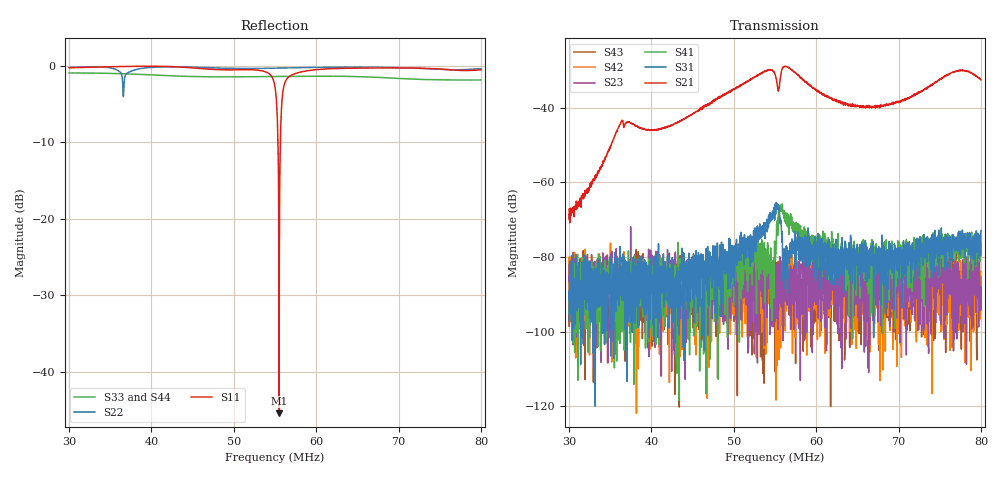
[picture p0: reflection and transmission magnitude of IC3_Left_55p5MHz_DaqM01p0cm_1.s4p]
#  HZ  S  DB  R  50.00
! Rohde & Schwarz Vector Network Analyzer
! Rohde-Schwarz,ZNB8-4Port,1311601044102961,2.82
! Created: UTC 2/13/2019, 8:48:47 AM
! freq[Hz]  db:S11  ang:S11  db:S12  ang:S12  db:S13  ang:S13  db:S14  ang:S14
!  db:S21  ang:S21  db:S22  ang:S22  db:S23  ang:S23  db:S24  ang:S24
!  db:S31  ang:S31  db:S32  ang:S32  db:S33  ang:S33  db:S34  ang:S34
!  db:S41  ang:S41  db:S42  ang:S42  db:S43  ang:S43  db:S44  ang:S44
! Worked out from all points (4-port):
!   2001 points, 30 MHz to 80 MHz, reference 50 ohm
!   strongest paths, dB at 30 MHz, 42.5 MHz, 55 MHz, 67.5 MHz, 80 MHz:
!     S21: -67.1, -44.5, -30.9, -39.6, -32.5
!     S31: -97.1, -82.1, -67.1, -79.6, -72.8
!     S41: -95.1, -87.7, -80.5, -82.1, -78.5
!     S23: -82.2, -91.8, -97.2, -85.1, -88.1
!     S42: -89.7, -89.6, -91.0, -86.0, -86.1
!     S43: -86.1, -83.6, -86.6, -87.6, -90.9
!   lowest |S11| = -45.4 dB at 55.5 MHz (marker M1), VSWR 1.01, Z = 49.9 + j0.533 ohm
!   |S11| at or under -10 dB: 55.36 MHz to 55.65 MHz (290.9 kHz wide, 0.524 % of centre)
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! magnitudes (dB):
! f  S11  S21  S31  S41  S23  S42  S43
! 30 MHz  -0.2  -67.1  -97.1  -95.1  -82.2  -89.7  -86.1
! 36.3 MHz  -0.1  -43.9  -90.4  -82.4  -84.6  -89.8  -92.2
! 54.17 MHz  -0.9  -29.9  -69.8  -77.6  -86.6  -90.8  -88.1
! 55.5 MHz  -45.4  -34.8  -67.1  -68.3  -84.0  -107.6  -81.1
! 57.05 MHz  -1.2  -29.8  -79.0  -71.0  -91.2  -85.9  -85.6
! 65.65 MHz  -0.3  -39.8  -77.4  -77.6  -83.9  -89.6  -87.5
! 80 MHz  -0.5  -32.5  -72.8  -78.5  -88.1  -86.1  -90.9
